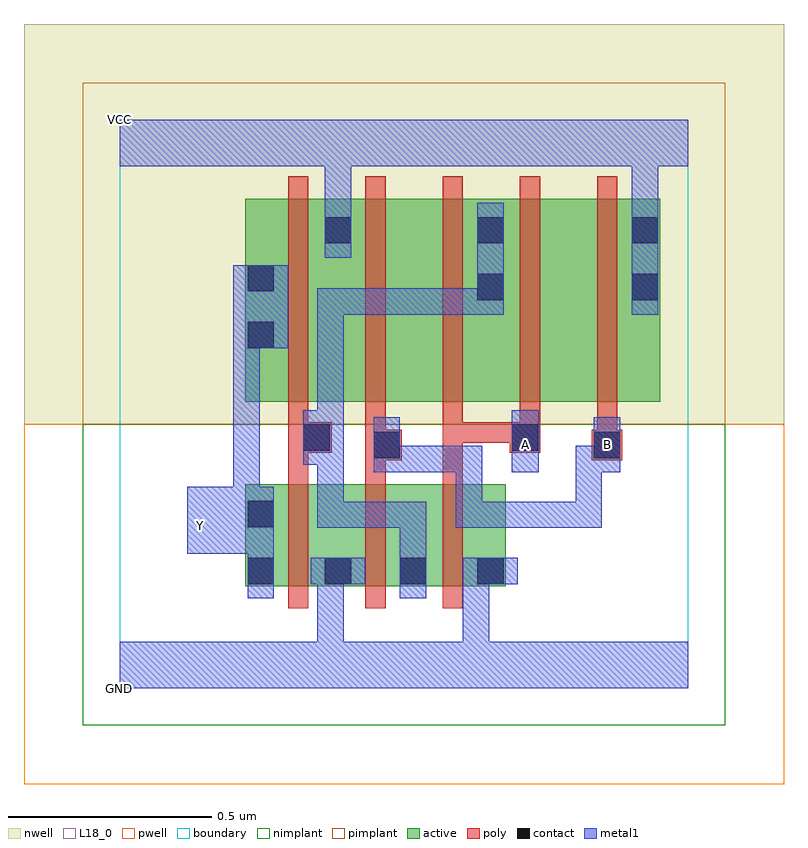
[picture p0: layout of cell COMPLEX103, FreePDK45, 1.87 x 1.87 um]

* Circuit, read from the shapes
.subckt COMPLEX103 A B GND VCC Y
M1 GND n1 Y VSUBS nfet w=0.25u l=0.05u
M2 n1 B GND VSUBS nfet w=0.25u l=0.05u
M3 GND A n1 VSUBS nfet w=0.25u l=0.05u
M4 VCC n1 Y n2 pfet w=0.5u l=0.05u
M5 n3 B VCC n2 pfet w=0.5u l=0.05u
M6 n1 A n3 n2 pfet w=0.5u l=0.05u
M7 n4 A n1 n2 pfet w=0.5u l=0.05u
M8 VCC B n4 n2 pfet w=0.5u l=0.05u
.ends

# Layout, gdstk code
import gdstk
lib = gdstk.Library(unit=1e-6, precision=1e-09)
def R(c, l, rs):  # rectangles x0, y0, x1, y1
    for r in rs: c.add(gdstk.rectangle(r[:2], r[2:], *l))
def A(c, l, x, y, w, h, nx, ny, dx, dy):  # array of equal rectangles
    R(c, l, [(x+i*dx, y+j*dy, x+i*dx+w, y+j*dy+h) for i in range(nx) for j in range(ny)])
active = (1, 0)
pwell = (2, 0)
nwell = (3, 0)
nimplant = (4, 0)
pimplant = (5, 0)
poly = (9, 0)
contact = (10, 0)
metal1 = (11, 0)
L18_0 = (18, 0)
boundary = (235, 0)

complex103 = lib.new_cell('COMPLEX103')
R(complex103, active, [(0.31,0.252,0.385,0.502), (0.31,0.252,0.575,0.502), (0.5,0.252,0.76,0.502), (0.5,0.252,0.575,0.497), (0.685,0.252,0.95,0.502), (0.685,0.252,0.76,0.342), (0.875,0.252,0.95,0.502), (0.31,0.705,0.575,1.205), (0.31,0.705,0.385,1.2), (0.5,0.705,0.725,1.205), (0.725,0.705,0.95,1.205), (0.875,0.705,1.105,1.205), (1.105,0.705,1.33,1.205), (1.255,0.705,1.33,1.205), (0.5,0.807,0.575,1.205), (0.875,0.807,0.95,1.2)])
R(complex103, pwell, [(-0.235,-0.235,1.635,0.65)])
R(complex103, nwell, [(-0.235,0.65,1.635,1.635)])
R(complex103, nimplant, [(-0.09,-0.09,1.49,0.65)])
R(complex103, pimplant, [(-0.09,0.65,1.49,1.49)])
A(complex103, poly, 0.415, 0.197, 0.05, 0.36, 3, 1, 0.19, 0)
A(complex103, poly, 0.415, 0.65, 0.05, 0.61, 5, 1, 0.19, 0)
R(complex103, poly, [(0.415,0.507,0.465,0.63), (0.605,0.507,0.655,0.612), (0.795,0.507,0.845,0.655), (0.605,0.562,0.695,0.637), (1.162,0.562,1.237,0.637), (0.415,0.58,0.522,0.655), (0.96,0.58,1.035,0.655), (0.605,0.587,0.655,0.7), (1.175,0.587,1.225,0.7), (0.415,0.605,0.465,0.7), (0.795,0.605,0.845,0.7), (0.795,0.605,1.01,0.655), (0.795,0.605,0.845,0.655), (0.795,0.605,0.845,0.655), (0.795,0.605,0.845,0.655), (0.985,0.605,1.035,0.7)])
R(complex103, contact, [(0.315,0.257,0.38,0.322), (0.505,0.257,0.57,0.322), (0.69,0.257,0.755,0.322), (0.88,0.257,0.945,0.322), (0.315,0.397,0.38,0.462), (0.625,0.567,0.69,0.632), (1.167,0.567,1.232,0.632), (0.452,0.585,0.517,0.65), (0.965,0.585,1.03,0.65), (0.315,0.837,0.38,0.902), (0.88,0.955,0.945,1.02), (1.26,0.955,1.325,1.02), (0.315,0.977,0.38,1.042), (0.505,1.095,0.57,1.16), (0.88,1.095,0.945,1.16), (1.26,1.095,1.325,1.16)])
R(complex103, metal1, [(0,0,1.4,0.115), (0.487,0.05,0.552,0.115), (0.487,0.05,0.552,0.115), (0.487,0.05,0.552,0.322), (0.845,0.05,0.91,0.322), (0.315,0.222,0.38,0.497), (0.69,0.222,0.755,0.357), (0.47,0.257,0.605,0.322), (0.487,0.257,0.552,0.322), (0.487,0.257,0.552,0.322), (0.845,0.257,0.91,0.322), (0.845,0.257,0.91,0.322), (0.845,0.257,0.91,0.322), (0.845,0.257,0.91,0.322), (0.845,0.257,0.98,0.322), (0.69,0.292,0.755,0.357), (0.69,0.292,0.755,0.46), (0.167,0.332,0.38,0.497), (0.487,0.395,0.552,0.46), (0.487,0.395,0.755,0.46), (0.487,0.395,0.552,0.685), (0.827,0.395,0.892,0.46), (0.827,0.395,0.892,0.597), (0.827,0.395,1.095,0.46), (1.03,0.395,1.095,0.46), (1.03,0.395,1.187,0.46), (1.122,0.395,1.187,0.46), (1.122,0.395,1.187,0.597), (0.28,0.432,0.345,0.902), (0.315,0.432,0.38,0.497), (0.625,0.532,0.69,0.597), (0.625,0.532,0.69,0.597), (0.625,0.532,0.69,0.667), (0.625,0.532,0.892,0.597), (0.827,0.532,0.892,0.597), (0.827,0.532,0.892,0.597), (0.827,0.532,0.892,0.597), (0.965,0.532,1.032,0.685), (1.122,0.532,1.187,0.597), (1.122,0.532,1.232,0.597), (1.167,0.532,1.232,0.667), (0.452,0.55,0.517,0.685), (0.452,0.62,0.552,0.685), (0.487,0.62,0.552,0.685), (0.487,0.62,0.552,0.985), (0.28,0.837,0.415,1.042), (0.487,0.92,0.552,0.985), (0.487,0.92,0.69,0.985), (0.625,0.92,0.69,0.985), (0.625,0.92,0.69,0.985), (0.625,0.92,0.69,0.985), (0.625,0.92,0.892,0.985), (0.827,0.92,0.892,0.985), (0.827,0.92,0.945,0.985), (0.88,0.92,0.945,1.195), (1.26,0.92,1.325,1.195), (0.505,1.06,0.57,1.195), (0.505,1.13,0.57,1.195), (0.505,1.13,0.57,1.195), (0.505,1.13,0.57,1.35), (1.26,1.13,1.325,1.195), (1.26,1.13,1.325,1.195), (1.26,1.13,1.325,1.35), (0,1.285,1.4,1.4)])
R(complex103, L18_0, [(0,0,1.4,0.115), (0.487,0.05,0.552,0.115), (0.487,0.05,0.552,0.115), (0.487,0.05,0.552,0.322), (0.845,0.05,0.91,0.322), (0.315,0.222,0.38,0.497), (0.47,0.257,0.605,0.322), (0.487,0.257,0.552,0.322), (0.487,0.257,0.552,0.322), (0.845,0.257,0.91,0.322), (0.845,0.257,0.91,0.322), (0.845,0.257,0.91,0.322), (0.845,0.257,0.91,0.322), (0.845,0.257,0.98,0.322), (0.167,0.332,0.38,0.497), (0.167,0.367,0.232,0.432), (0.827,0.395,0.892,0.46), (0.827,0.395,0.892,0.597), (0.827,0.395,1.095,0.46), (1.03,0.395,1.095,0.46), (1.03,0.395,1.187,0.46), (1.122,0.395,1.187,0.46), (1.122,0.395,1.187,0.597), (0.28,0.432,0.345,0.902), (0.315,0.432,0.38,0.497), (0.625,0.532,0.69,0.597), (0.625,0.532,0.69,0.597), (0.625,0.532,0.69,0.667), (0.625,0.532,0.892,0.597), (0.827,0.532,0.892,0.597), (0.827,0.532,0.892,0.597), (0.827,0.532,0.892,0.597), (0.965,0.532,1.032,0.685), (1.122,0.532,1.187,0.597), (1.122,0.532,1.232,0.597), (1.167,0.532,1.232,0.667), (0.967,0.567,1.032,0.632), (1.167,0.567,1.232,0.632), (0.28,0.837,0.415,1.042), (1.26,0.92,1.325,1.195), (0.505,1.06,0.57,1.195), (0.505,1.13,0.57,1.195), (0.505,1.13,0.57,1.195), (0.505,1.13,0.57,1.35), (1.26,1.13,1.325,1.195), (1.26,1.13,1.325,1.195), (1.26,1.13,1.325,1.35), (0,1.285,1.4,1.4)])
R(complex103, boundary, [(0,0,1.4,1.4)])
complex103.add(gdstk.Label('A', (1,0.6), layer=11, texttype=0))
complex103.add(gdstk.Label('B', (1.2,0.6), layer=11, texttype=0))
complex103.add(gdstk.Label('Y', (0.2,0.4), layer=11, texttype=0))
complex103.add(gdstk.Label('VCC', (0,1.4), layer=11, texttype=0))
complex103.add(gdstk.Label('GND', (0,0), layer=11, texttype=0))

lib.write_gds('COMPLEX103.gds')
